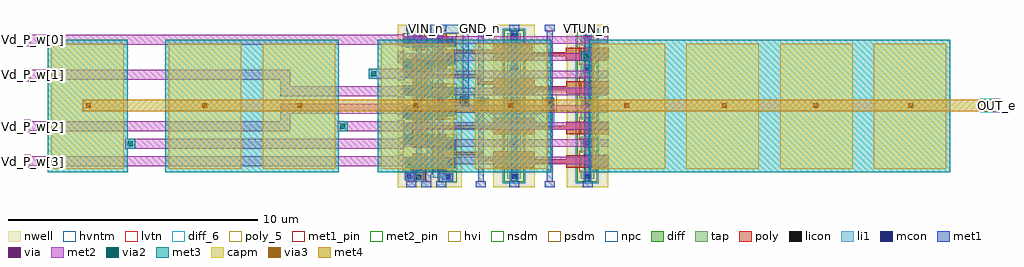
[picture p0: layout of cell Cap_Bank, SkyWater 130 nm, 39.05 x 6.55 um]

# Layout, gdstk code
import gdstk
lib = gdstk.Library(unit=1e-6, precision=1e-09)
def R(c, l, rs):  # rectangles x0, y0, x1, y1
    for r in rs: c.add(gdstk.rectangle(r[:2], r[2:], *l))
def A(c, l, x, y, w, h, nx, ny, dx, dy):  # array of equal rectangles
    R(c, l, [(x+i*dx, y+j*dy, x+i*dx+w, y+j*dy+h) for i in range(nx) for j in range(ny)])
nwell = (64, 20)
diff_6 = (65, 6)
diff = (65, 20)
tap = (65, 44)
poly_5 = (66, 5)
poly = (66, 20)
licon = (66, 44)
li1 = (67, 20)
mcon = (67, 44)
met1_pin = (68, 16)
met1 = (68, 20)
via = (68, 44)
met2_pin = (69, 16)
met2 = (69, 20)
via2 = (69, 44)
met3 = (70, 20)
via3 = (70, 44)
met4 = (71, 20)
hvi = (75, 20)
capm = (89, 44)
nsdm = (93, 44)
psdm = (94, 20)
npc = (95, 20)
hvntm = (125, 20)
lvtn = (125, 44)

indirectvmm_4x1 = lib.new_cell('IndirectVMM_4x1')
R(indirectvmm_4x1, nwell, [(5.45,1.55,8.01,8.05), (9.28,1.55,10.94,8.05), (12.21,1.55,13.87,8.05)])
R(indirectvmm_4x1, diff_6, [(6.66,2.45,6.8,2.6), (6.64,4.45,6.78,4.6), (6.66,5.32,6.8,5.47), (6.66,7.25,6.8,7.4)])
R(indirectvmm_4x1, diff, [(5.78,2.33,7.68,2.75), (6.65,3.13,7.68,3.26), (5.78,3.26,7.68,3.55), (5.78,3.55,6.82,3.68), (5.78,4.26,6.82,4.39), (5.78,4.39,7.68,4.68), (6.66,4.68,7.68,4.81), (6.66,5.16,7.68,5.22), (5.78,5.22,7.68,5.58), (5.78,5.58,6.81,5.64), (5.78,6.28,6.81,6.41), (5.78,6.41,7.68,6.7), (6.66,6.7,7.68,6.83), (5.78,7.17,7.68,7.59)])
R(indirectvmm_4x1, tap, [(7.24,1.88,7.68,2.06), (9.84,1.9,10.38,7.72), (12.77,1.9,13.31,2.24), (12.9,2.24,13.31,2.25), (12.9,2.25,13.19,2.94), (12.77,2.94,13.19,2.95), (12.77,2.95,13.31,3.58), (12.9,3.58,13.19,4.28), (12.77,4.28,13.31,5.19), (8.62,4.75,8.95,5.16), (11.37,4.75,11.7,5.16), (12.9,5.19,13.31,5.21), (12.9,5.21,13.19,5.89), (12.77,5.89,13.19,5.91), (12.77,5.91,13.31,6.53), (12.9,6.53,13.19,7.23), (12.77,7.23,13.31,7.72)])
R(indirectvmm_4x1, poly_5, [(11.15,2.52,11.29,2.67), (11.22,3.86,11.36,4.01), (11.12,5.44,11.26,5.59), (11.09,6.8,11.23,6.95)])
R(indirectvmm_4x1, poly, [(6.06,1.83,6.56,2.9), (6.9,2.16,7.4,2.83), (9.28,2.34,10.94,2.52), (12.19,2.34,13.9,2.52), (9.28,2.52,13.9,2.62), (8.67,2.62,13.9,2.67), (8.67,2.67,10.94,2.77), (12.19,2.67,13.9,2.84), (8.67,2.77,8.83,2.83), (9.28,2.77,10.94,2.99), (6.9,2.83,8.83,2.98), (6.9,2.98,7.4,3.68), (6.06,3.13,6.56,3.89), (9.28,3.68,10.94,3.86), (12.19,3.68,13.9,3.86), (9.28,3.86,13.9,3.89), (6.06,3.89,13.9,4.01), (6.06,4.01,10.94,4.04), (12.19,4.01,13.9,4.18), (6.06,4.04,6.56,4.81), (9.28,4.04,10.94,4.33), (6.91,4.25,7.41,4.93), (7.93,4.79,8.31,4.93), (6.91,4.93,8.31,5.08), (6.06,5.02,6.56,5.92), (6.91,5.08,7.41,5.71), (7.93,5.08,8.31,5.2), (9.28,5.29,10.94,5.44), (12.19,5.29,13.9,5.44), (9.28,5.44,13.9,5.59), (9.28,5.59,10.94,5.65), (12.19,5.59,13.9,5.79), (8.63,5.65,10.94,5.8), (8.63,5.8,8.78,5.92), (9.28,5.8,10.94,5.94), (6.06,5.92,8.78,6.07), (6.06,6.07,6.56,6.83), (6.91,6.28,7.41,6.91), (9.28,6.63,10.84,6.8), (12.17,6.63,13.9,6.8), (9.28,6.8,13.9,6.91), (6.91,6.91,13.9,6.95), (6.91,6.95,10.84,7.06), (12.17,6.95,13.9,7.13), (6.06,7.04,6.56,8.05), (6.91,7.06,7.41,7.72), (9.28,7.06,10.84,7.28)])
R(indirectvmm_4x1, licon, [(6.22,1.88,6.39,2.05), (7.385,1.88,7.555,2.05), (10.02,1.9,10.19,2.07), (12.95,1.9,13.12,2.07), (7.465,2.43,7.635,2.6), (5.825,2.44,5.995,2.61), (7.465,3.2,7.635,3.37), (10.02,3.24,10.19,3.41), (12.95,3.24,13.12,3.41), (6.645,3.3,6.815,3.47), (5.825,3.39,5.995,3.56), (5.825,4.39,5.995,4.56), (7.47,4.51,7.64,4.68), (10.01,4.76,10.18,4.93), (12.94,4.76,13.11,4.93), (8.7,4.87,8.87,5.04), (11.45,4.87,11.62,5.04), (8.04,4.92,8.21,5.09), (7.47,5.28,7.64,5.45), (5.825,5.36,5.995,5.53), (10.03,6.19,10.2,6.36), (12.96,6.19,13.13,6.36), (5.825,6.34,5.995,6.51), (6.645,6.45,6.815,6.62), (7.47,6.53,7.64,6.7), (7.47,7.27,7.64,7.44), (5.825,7.33,5.995,7.5), (10.03,7.55,10.2,7.72), (12.96,7.55,13.13,7.72), (6.22,7.83,6.39,8)])
R(indirectvmm_4x1, li1, [(7.24,1.77,7.68,1.94), (9.94,1.82,10.27,2.15), (12.87,1.82,13.2,2.15), (5.74,1.83,6.47,2.13), (6.85,1.94,7.68,2.11), (6.85,2.11,7.1,2.3), (5.74,2.3,7.1,2.68), (7.38,2.35,7.72,2.68), (6.85,2.68,7.1,2.69), (7.38,3.1,7.73,3.13), (7.38,3.13,7.74,3.43), (9.94,3.16,10.27,3.49), (12.87,3.16,13.2,3.49), (6.56,3.3,6.9,3.49), (5.74,3.31,6.08,3.66), (8.62,3.96,11.72,4.35), (5.74,4.31,6.08,4.64), (8.62,4.35,11.71,4.5), (7.39,4.45,7.77,4.84), (8.62,4.5,9.1,5.12), (11.23,4.5,11.71,5.12), (9.93,4.68,10.26,5.01), (12.86,4.68,13.19,5.01), (7.96,4.8,8.29,5.18), (7.05,4.84,7.77,5.15), (7.39,5.15,7.77,5.45), (5.74,5.28,6.08,5.53), (9.95,6.11,10.28,6.44), (12.88,6.11,13.21,6.44), (5.74,6.3,6.08,6.51), (6.56,6.45,6.91,6.62), (7.39,6.53,7.72,6.57), (7.39,6.57,7.76,6.74), (7.39,6.74,7.72,6.79), (5.74,7.15,7.24,7.54), (7.41,7.19,7.68,7.28), (7.41,7.28,7.73,7.45), (7.41,7.45,7.68,7.52), (9.95,7.47,10.28,7.8), (12.88,7.47,13.21,7.8), (8.01,7.68,8.35,7.72), (5.84,7.72,8.35,8.05)])
R(indirectvmm_4x1, mcon, [(7.385,1.88,7.555,2.05), (5.82,1.9,5.99,2.07), (10.03,1.9,10.2,2.07), (12.96,1.9,13.13,2.07), (7.465,2.44,7.635,2.61), (7.465,3.13,7.635,3.3), (10.03,3.24,10.2,3.41), (12.96,3.24,13.13,3.41), (6.65,3.3,6.82,3.47), (5.825,3.39,5.995,3.56), (5.8,4.39,5.97,4.56), (10.03,4.76,10.2,4.93), (12.96,4.76,13.13,4.93), (8.7,4.87,8.87,5.04), (11.45,4.87,11.62,5.04), (8.09,4.92,8.26,5.09), (7.08,4.94,7.25,5.11), (5.81,5.35,5.98,5.52), (10.03,6.19,10.2,6.36), (12.96,6.19,13.13,6.36), (5.795,6.34,5.965,6.51), (6.65,6.45,6.82,6.62), (7.47,6.58,7.64,6.75), (7.47,7.27,7.64,7.44), (7.07,7.35,7.24,7.52), (10.03,7.55,10.2,7.72), (12.96,7.55,13.13,7.72), (8.09,7.72,8.26,7.89), (5.93,7.78,6.1,7.95)])
A(indirectvmm_4x1, met1_pin, 5.8, 1.55, 0.4, 0.25, 3, 2, 0.6, 6.25)
R(indirectvmm_4x1, met1_pin, [(8.58,1.55,8.98,1.8), (9.91,1.55,10.31,1.8), (11.33,1.55,11.73,1.8), (12.85,1.55,13.25,1.8), (8.58,7.8,8.98,8.05), (9.91,7.8,10.31,8.05), (11.33,7.8,11.73,8.05), (12.85,7.8,13.25,8.05)])
A(indirectvmm_4x1, met1, 5.8, 7.8, 0.4, 0.25, 3, 1, 0.6, 0)
R(indirectvmm_4x1, met1, [(5.8,1.55,6.2,1.83), (6.4,1.55,6.8,1.8), (7,1.55,7.4,1.8), (8.58,1.55,8.98,1.8), (9.91,1.55,10.31,1.8), (11.33,1.55,11.73,1.8), (12.85,1.55,13.25,1.8), (6.57,1.8,6.8,2.1), (7.05,1.8,7.68,2.11), (8.67,1.8,8.9,7.8), (10,1.8,10.23,7.8), (11.42,1.8,11.65,7.8), (12.93,1.8,13.16,7.8), (5.74,1.83,6.2,2.13), (6.57,2.1,6.85,2.48), (7.05,2.11,7.28,7.29), (5.98,2.13,6.2,2.21), (5.98,2.21,6.42,2.41), (7.43,2.31,7.75,2.73), (6.19,2.41,6.42,7.45), (6.62,2.48,6.85,7.69), (7.42,3.04,7.77,3.43), (5.71,3.26,6.03,4.11), (5.68,4.33,6,4.8), (8.06,4.77,8.29,4.87), (7.96,4.87,8.29,5.18), (8.06,5.18,8.29,7.95), (5.74,5.24,6.04,5.63), (5.7,5.95,6.02,6.58), (7.44,6.48,7.76,6.91), (7.44,7.19,7.77,7.59), (7.03,7.29,7.28,7.56), (5.83,7.45,6.42,7.65), (7.05,7.56,7.28,7.8), (5.83,7.65,6.2,7.8), (6.62,7.69,6.8,7.8), (8.58,7.8,8.98,8.05), (9.91,7.8,10.31,8.05), (11.33,7.8,11.73,8.05), (12.85,7.8,13.25,8.05)])
R(indirectvmm_4x1, via, [(7.515,2.525,7.665,2.675), (7.535,3.225,7.685,3.375), (5.795,3.905,5.945,4.055), (5.765,4.595,5.915,4.745), (5.805,5.325,5.955,5.475), (5.785,6.015,5.935,6.165), (7.525,6.665,7.675,6.815), (7.515,7.355,7.665,7.505)])
A(indirectvmm_4x1, met2_pin, 5.45, 3.08, 0.26, 0.46, 1, 7, 0, 0.69)
R(indirectvmm_4x1, met2_pin, [(5.45,2.39,5.68,2.85)])
A(indirectvmm_4x1, met2, 5.45, 3.85, 8.42, 0.3, 1, 6, 0, 0.69)
R(indirectvmm_4x1, met2, [(5.45,2.39,5.68,2.47), (13.14,2.39,13.87,2.47), (5.45,2.47,13.87,2.77), (5.45,2.77,5.68,2.85), (13.13,2.77,13.87,2.85), (5.45,3.08,5.71,3.17), (5.45,3.17,13.87,3.47), (5.45,3.47,5.71,3.54), (5.45,3.77,5.71,3.85), (5.45,4.15,5.71,4.23), (5.45,4.46,5.71,4.54), (5.45,4.84,5.71,4.92), (5.45,5.15,5.71,5.23), (5.45,5.53,5.71,5.61), (5.45,5.84,5.71,5.92), (5.45,6.22,5.71,6.3), (5.45,6.53,5.71,6.61), (5.45,6.91,5.71,6.99), (5.45,7.22,5.71,7.3), (5.45,7.6,5.71,7.68)])
R(indirectvmm_4x1, hvi, [(5.45,1.55,8.01,4.535), (9.28,1.55,10.94,4.535), (12.21,1.55,13.87,4.535), (5.45,4.535,13.87,5.375), (5.45,5.375,8.01,8.05), (9.28,5.375,10.94,8.05), (12.21,5.375,13.87,8.05)])
R(indirectvmm_4x1, nsdm, [(7.115,1.755,7.805,2.185), (9.715,1.775,10.505,7.845), (12.645,1.775,13.435,2.365), (12.775,2.365,13.435,2.375), (12.775,2.375,13.315,2.815), (12.645,2.815,13.315,2.825), (12.645,2.825,13.435,3.705), (12.775,3.705,13.315,4.155), (12.645,4.155,13.435,5.315), (12.775,5.315,13.435,5.335), (12.775,5.335,13.315,5.765), (12.645,5.765,13.315,5.785), (12.645,5.785,13.435,6.655), (12.775,6.655,13.315,7.105), (12.645,7.105,13.435,7.845)])
R(indirectvmm_4x1, psdm, [(5.655,2.205,7.805,3.675), (5.655,3.675,6.945,4.265), (5.655,4.265,7.805,5.705), (8.495,4.625,9.075,5.285), (11.245,4.625,11.825,5.285), (5.655,5.705,6.935,5.765), (5.655,6.155,6.935,6.285), (5.655,6.285,7.805,7.715)])
R(indirectvmm_4x1, npc, [(6.12,1.78,6.49,2.15), (7.94,4.82,8.31,5.19), (6.12,7.73,6.49,8.1)])
R(indirectvmm_4x1, hvntm, [(9.655,1.715,10.565,7.905), (12.585,1.715,13.495,7.905)])
R(indirectvmm_4x1, lvtn, [(9.66,2.16,10.56,4.51), (12.72,2.16,13.37,3.02), (12.72,3.5,13.37,4.36), (9.66,5.11,10.56,7.46), (12.72,5.11,13.37,5.97), (12.72,6.45,13.37,7.31)])
indirectvmm_4x1.add(gdstk.Label('FG[0]', (11.16,6.875), layer=66, texttype=5))
indirectvmm_4x1.add(gdstk.Label('FG[1]', (11.19,5.515), layer=66, texttype=5))
indirectvmm_4x1.add(gdstk.Label('FG[2]', (11.29,3.935), layer=66, texttype=5))
indirectvmm_4x1.add(gdstk.Label('FG[3]', (11.22,2.595), layer=66, texttype=5))
indirectvmm_4x1.add(gdstk.Label('Vmid[0]', (6.73,7.325), layer=65, texttype=6))
indirectvmm_4x1.add(gdstk.Label('Vmid[1]', (6.73,5.395), layer=65, texttype=6))
indirectvmm_4x1.add(gdstk.Label('Vmid[2]', (6.71,4.525), layer=65, texttype=6))
indirectvmm_4x1.add(gdstk.Label('Vmid[3]', (6.73,2.525), layer=65, texttype=6))
indirectvmm_4x1.add(gdstk.Label('Vd_P[3]', (5.565,2.62), layer=69, texttype=5))
indirectvmm_4x1.add(gdstk.Label('Vd_R[3]', (5.58,3.31), layer=69, texttype=5))
indirectvmm_4x1.add(gdstk.Label('Vd_R[2]', (5.58,4), layer=69, texttype=5))
indirectvmm_4x1.add(gdstk.Label('Vd_P[2]', (5.58,4.69), layer=69, texttype=5))
indirectvmm_4x1.add(gdstk.Label('Vd_P[1]', (5.58,5.38), layer=69, texttype=5))
indirectvmm_4x1.add(gdstk.Label('Vd_R[1]', (5.58,6.07), layer=69, texttype=5))
indirectvmm_4x1.add(gdstk.Label('Vd_R[0]', (5.58,6.76), layer=69, texttype=5))
indirectvmm_4x1.add(gdstk.Label('Vd_P[0]', (5.58,7.45), layer=69, texttype=5))
indirectvmm_4x1.add(gdstk.Label('Vs', (6.6,1.675), layer=68, texttype=5))
indirectvmm_4x1.add(gdstk.Label('Vs', (6.6,7.925), layer=68, texttype=5))
indirectvmm_4x1.add(gdstk.Label('GND', (11.53,1.675), layer=68, texttype=5))
indirectvmm_4x1.add(gdstk.Label('GND', (8.78,1.675), layer=68, texttype=5))
indirectvmm_4x1.add(gdstk.Label('GND', (8.78,7.925), layer=68, texttype=5))
indirectvmm_4x1.add(gdstk.Label('GND', (11.53,7.925), layer=68, texttype=5))
indirectvmm_4x1.add(gdstk.Label('Vg', (10.11,1.675), layer=68, texttype=5))
indirectvmm_4x1.add(gdstk.Label('Vg', (10.11,7.925), layer=68, texttype=5))
indirectvmm_4x1.add(gdstk.Label('VTUN', (13.05,1.675), layer=68, texttype=5))
indirectvmm_4x1.add(gdstk.Label('VTUN', (13.05,7.925), layer=68, texttype=5))
indirectvmm_4x1.add(gdstk.Label('VINJ', (7.2,1.675), layer=68, texttype=5))
indirectvmm_4x1.add(gdstk.Label('VINJ', (7.2,7.925), layer=68, texttype=5))
indirectvmm_4x1.add(gdstk.Label('Vsel', (6,1.675), layer=68, texttype=5))
indirectvmm_4x1.add(gdstk.Label('Vsel', (6,7.925), layer=68, texttype=5))

cap_bank = lib.new_cell('Cap_Bank')
A(cap_bank, met1_pin, 0.35, 6.25, 0.4, 0.25, 3, 1, 0.6, 0)
R(cap_bank, met1_pin, [(3.13,6.25,3.53,6.5), (4.46,6.25,4.86,6.5), (7.4,6.25,7.8,6.5)])
R(cap_bank, met2_pin, [(-14.95,0.8,-14.7,1.3), (-14.95,2.2,-14.7,2.7), (23.85,3,24.1,3.55), (-14.95,4.25,-14.7,4.75), (-14.95,5.65,-14.7,6.15)])
R(cap_bank, met2, [(-14.95,0.8,-14.7,0.85), (-14.95,0.85,0,1.25), (-14.95,1.25,-14.7,1.3), (-10.9,1.55,0,1.95), (-14.95,2.2,-14.7,2.25), (-14.95,2.25,-4.3,2.65), (-2.4,2.25,0,2.65), (-14.95,2.65,-14.7,2.7), (-4.7,2.65,-4.3,2.95), (-4.7,2.95,0,3.35), (23.3,3,24.1,3.55), (-4.7,3.65,0,4.05), (-4.7,4.05,-4.3,4.3), (-14.95,4.25,-14.7,4.3), (-14.95,4.3,-4.3,4.7), (-1.15,4.35,0,4.75), (-14.95,4.7,-14.7,4.75), (7.35,5.05,7.75,5.45), (-14.95,5.65,-14.7,5.7), (-14.95,5.7,0,6.1), (-14.95,6.1,-14.7,6.15)])
R(cap_bank, via2, [(-10.8,1.65,-10.6,1.85), (-2.3,2.35,-2.1,2.55), (23.475,3.175,23.675,3.375), (-1.05,4.45,-0.85,4.65), (7.45,5.15,7.65,5.35)])
R(cap_bank, met3, [(-14,0.6,-10.8,1.55), (-9.3,0.6,-2.35,2.25), (-0.8,0.6,6.15,4.35), (7.65,0.6,22.1,5.05), (-14,1.55,-10.5,1.95), (-14,1.95,-10.8,5.9), (-9.3,2.25,-2,2.65), (-9.3,2.65,-2.35,5.9), (23.3,3,23.85,3.55), (-1.15,4.35,6.15,4.75), (-0.8,4.75,6.15,5.9), (7.35,5.05,22.1,5.45), (7.65,5.45,22.1,5.9)])
R(cap_bank, via3, [(-12.475,3.175,-12.275,3.375), (-7.825,3.175,-7.625,3.375), (-4.025,3.175,-3.825,3.375), (0.625,3.175,0.825,3.375), (4.425,3.175,4.625,3.375), (9.075,3.175,9.275,3.375), (12.975,3.175,13.175,3.375), (16.625,3.175,16.825,3.375), (20.425,3.175,20.625,3.375), (23.475,3.175,23.675,3.375)])
R(cap_bank, met4, [(-12.6,3.05,23.8,3.5)])
A(cap_bank, capm, 7.8, 0.75, 2.9, 5, 4, 1, 3.75, 0)
R(cap_bank, capm, [(-13.85,0.75,-10.95,5.75), (-9.15,0.75,-6.25,5.75), (-5.4,0.75,-2.5,5.75), (-0.65,0.75,2.25,5.75), (3.1,0.75,6,5.75)])
cap_bank.add(gdstk.Reference(indirectvmm_4x1, (-5.45,-1.55)))
cap_bank.add(gdstk.Label('GND_n', (3.33,6.375), layer=68, texttype=5))
cap_bank.add(gdstk.Label('OUT_e', (23.975,3.275), layer=69, texttype=5))
cap_bank.add(gdstk.Label('Vd_P_w[0]', (-14.825,5.9), layer=69, texttype=5))
cap_bank.add(gdstk.Label('Vd_P_w[1]', (-14.825,4.5), layer=69, texttype=5))
cap_bank.add(gdstk.Label('Vd_P_w[2]', (-14.825,2.45), layer=69, texttype=5))
cap_bank.add(gdstk.Label('Vd_P_w[3]', (-14.825,1.05), layer=69, texttype=5))
cap_bank.add(gdstk.Label('Vg_n', (4.66,6.375), layer=68, texttype=5))
cap_bank.add(gdstk.Label('VINJ_n', (1.75,6.375), layer=68, texttype=5))
cap_bank.add(gdstk.Label('VIN_n', (1.15,6.375), layer=68, texttype=5))
cap_bank.add(gdstk.Label('Vsel_n', (0.55,6.375), layer=68, texttype=5))
cap_bank.add(gdstk.Label('VTUN_n', (7.6,6.375), layer=68, texttype=5))

lib.write_gds('Cap_Bank.gds')
